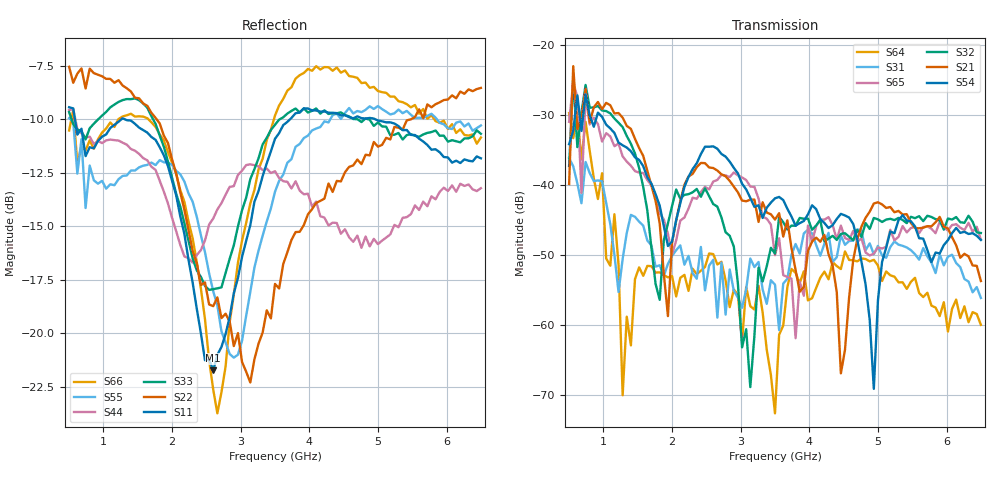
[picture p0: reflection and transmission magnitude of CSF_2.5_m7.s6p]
!Keysight Technologies,M9804A,MY58100912,A.14.10.03
!Date: Thursday, April 27, 2023 10:28:33
!Correction: S11(C  6-Port  )
!S12(C  6-Port  )
!S13(C  6-Port  )
!S14(C  6-Port  )
!S15(C  6-Port  )
!S16(C  6-Port  )
!S21(C  6-Port  )
!S22(C  6-Port  )
!S23(C  6-Port  )
!S24(C  6-Port  )
!S25(C  6-Port  )
!S26(C  6-Port  )
!S31(C  6-Port  )
!S32(C  6-Port  )
!S33(C  6-Port  )
!S34(C  6-Port  )
!S35(C  6-Port  )
!S36(C  6-Port  )
!S41(C  6-Port  )
!S42(C  6-Port  )
!S43(C  6-Port  )
!S44(C  6-Port  )
!S45(C  6-Port  )
!S46(C  6-Port  )
!S51(C  6-Port  )
!S52(C  6-Port  )
!S53(C  6-Port  )
!S54(C  6-Port  )
!S55(C  6-Port  )
!S56(C  6-Port  )
!S61(C  6-Port  )
!S62(C  6-Port  )
!S63(C  6-Port  )
!S64(C  6-Port  )
!S65(C  6-Port  )
!S66(C  6-Port  )
!S6P File: Measurement: :
# Hz S  RI  R 50
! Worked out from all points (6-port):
!   101 points, 500 MHz to 6.5 GHz, reference 50 ohm
!   strongest paths, dB at 500 MHz, 2 GHz, 3.5 GHz, 5 GHz, 6.5 GHz:
!     S54: -34.2, -48.1, -41.9, -56.5, -47.9
!     S21: -39.9, -48.3, -45.0, -42.5, -53.8
!     S32: -37.3, -43.0, -49.8, -44.9, -46.9
!     S65: -31.0, -50.0, -50.1, -49.0, -47.8
!     S31: -36.2, -50.2, -54.3, -48.7, -56.2
!     S64: -29.8, -53.0, -72.6, -51.5, -60.0
!   lowest |S11| = -21.7 dB at 2.6 GHz (marker M1), VSWR 1.18, Z = 42.7 + j1.96 ohm
!   |S11| at or under -10 dB: 585.4 MHz to 1.259 GHz (673.9 MHz wide, 73.1 % of centre); 1.318 GHz to 3.716 GHz (2.398 GHz wide, 95.3 % of centre); 4.968 GHz to end of sweep
